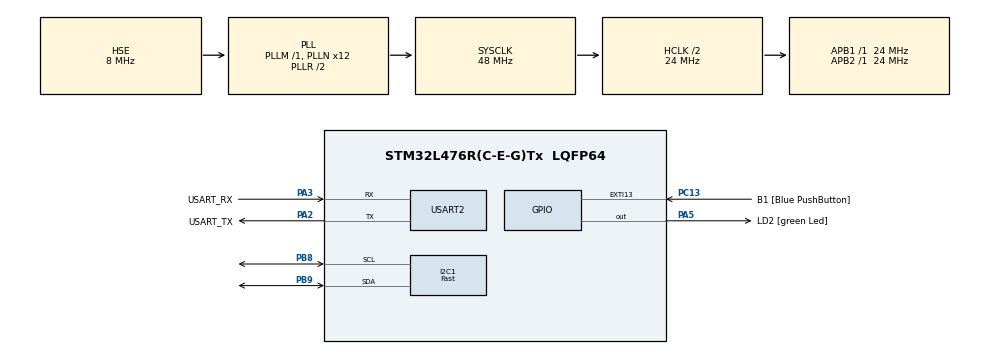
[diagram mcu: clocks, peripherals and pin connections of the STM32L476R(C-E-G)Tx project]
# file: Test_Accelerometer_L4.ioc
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Dma.I2C1_RX.0.Direction=DMA_PERIPH_TO_MEMORY
Dma.I2C1_RX.0.Instance=DMA1_Channel7
Dma.I2C1_RX.0.MemDataAlignment=DMA_MDATAALIGN_BYTE
Dma.I2C1_RX.0.MemInc=DMA_MINC_ENABLE
Dma.I2C1_RX.0.Mode=DMA_NORMAL
Dma.I2C1_RX.0.PeriphDataAlignment=DMA_PDATAALIGN_BYTE
Dma.I2C1_RX.0.PeriphInc=DMA_PINC_DISABLE
Dma.I2C1_RX.0.Priority=DMA_PRIORITY_LOW
Dma.Request0=I2C1_RX
I2C1.I2C_Speed_Mode=I2C_Fast
I2C1.Timing=0x00200C28
Mcu.Family=STM32L4
Mcu.Name=STM32L476R(C-E-G)Tx
Mcu.Package=LQFP64
NVIC.DMA1_Channel7_IRQn=true\:0\:0\:false\:false\:true\:false\:true
NVIC.I2C1_EV_IRQn=true\:0\:0\:false\:false\:true\:true\:true
NVIC.PriorityGroup=NVIC_PRIORITYGROUP_4
PA13\ (JTMS-SWDIO).GPIO_Label=TMS
PA13\ (JTMS-SWDIO).Mode=Serial_Wire
PA13\ (JTMS-SWDIO).Signal=SYS_JTMS-SWDIO
PA14\ (JTCK-SWCLK).GPIO_Label=TCK
PA14\ (JTCK-SWCLK).Mode=Serial_Wire
PA14\ (JTCK-SWCLK).Signal=SYS_JTCK-SWCLK
PA2.GPIO_Label=USART_TX
PA2.GPIO_Mode=GPIO_MODE_AF_PP
PA2.GPIO_PuPd=GPIO_NOPULL
PA2.GPIO_Speed=GPIO_SPEED_FREQ_VERY_HIGH
PA2.Mode=Asynchronous
PA2.Signal=USART2_TX
PA3.GPIO_Label=USART_RX
PA3.GPIO_Mode=GPIO_MODE_AF_PP
PA3.GPIO_PuPd=GPIO_NOPULL
PA3.GPIO_Speed=GPIO_SPEED_FREQ_VERY_HIGH
PA3.Mode=Asynchronous
PA3.Signal=USART2_RX
PA5.GPIO_Label=LD2 [green Led]
PA5.GPIO_ModeDefaultOutputPP=GPIO_MODE_OUTPUT_PP
PA5.GPIO_PuPd=GPIO_NOPULL
PA5.GPIO_Speed=GPIO_SPEED_FREQ_LOW
PA5.Signal=GPIO_Output
PB3\ (JTDO-TRACESWO).GPIO_Label=SWO
PB3\ (JTDO-TRACESWO).Signal=SYS_JTDO-SWO
PB8.Mode=I2C
PB8.Signal=I2C1_SCL
PB9.Mode=I2C
PB9.Signal=I2C1_SDA
PC13.GPIO_Label=B1 [Blue PushButton]
PC13.GPIO_ModeDefaultEXTI=GPIO_MODE_IT_FALLING
PC13.GPIO_PuPd=GPIO_NOPULL
PC13.Signal=GPXTI13
PC14-OSC32_IN\ (PC14).Mode=LSE-External-Oscillator
PC14-OSC32_IN\ (PC14).Signal=RCC_OSC32_IN
PC15-OSC32_OUT\ (PC15).Mode=LSE-External-Oscillator
PC15-OSC32_OUT\ (PC15).Signal=RCC_OSC32_OUT
PH0-OSC_IN\ (PH0).Mode=HSE-External-Oscillator
PH0-OSC_IN\ (PH0).Signal=RCC_OSC_IN
PH1-OSC_OUT\ (PH1).Mode=HSE-External-Oscillator
PH1-OSC_OUT\ (PH1).Signal=RCC_OSC_OUT
ProjectManager.HeapSize=0x200
ProjectManager.StackSize=0x400
ProjectManager.TargetToolchain=TrueSTUDIO
RCC.ADCFreq_Value=32000000
RCC.AHBCLKDivider=RCC_SYSCLK_DIV2
RCC.AHBFreq_Value=24000000
RCC.APB1Freq_Value=24000000
RCC.APB1TimFreq_Value=24000000
RCC.APB2Freq_Value=24000000
RCC.APB2TimFreq_Value=24000000
RCC.CortexFreq_Value=24000000
RCC.HCLKFreq_Value=24000000
RCC.HSE_VALUE=8000000
RCC.HSI_VALUE=16000000
RCC.MSI_VALUE=4000000
RCC.PLLN=12
RCC.PLLSourceVirtual=RCC_PLLSOURCE_HSE
RCC.PREFETCH_ENABLE=1
RCC.SYSCLKFreq_VALUE=48000000
RCC.SYSCLKSource=RCC_SYSCLKSOURCE_PLLCLK
RCC.USBFreq_Value=32000000
RCC.VCOOutputFreq_Value=96000000
USART2.VirtualMode-Asynchronous=VM_ASYNC
board=NUCLEO-L476RG

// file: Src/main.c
/* USER CODE BEGIN Header */
/**
  ******************************************************************************
  * @file           : main.c
  * @brief          : Main program body
  ******************************************************************************
  * @attention
  *
  * <h2><center>&copy; Copyright (c) 2020 STMicroelectronics.
  * All rights reserved.</center></h2>
  *
  * This software component is licensed by ST under BSD 3-Clause license,
  * the "License"; You may not use this file except in compliance with the
  * License. You may obtain a copy of the License at:
  *                        opensource.org/licenses/BSD-3-Clause
  *
  ******************************************************************************
  */
/* USER CODE END Header */

#include "main.h"

/* USER CODE BEGIN Includes */
#include "math.h"
#include "HAL_MPU6050.h"
/* USER CODE END Includes */

I2C_HandleTypeDef hi2c1;
DMA_HandleTypeDef hdma_i2c1_rx;

UART_HandleTypeDef huart2;

/* USER CODE BEGIN PV */
uint8_t I2C_TX_CPLT;
/* USER CODE END PV */

void SystemClock_Config(void);
static void MX_GPIO_Init(void);
static void MX_DMA_Init(void);
static void MX_I2C1_Init(void);
static void MX_USART2_UART_Init(void);
/* USER CODE BEGIN PFP */
mpu_status_t MPU6050_Get_ID(I2C_HandleTypeDef *hi2c,uint8_t* ID);
mpu_status_t MPU6050_Get_MST_Status(I2C_HandleTypeDef *hi2c, uint8_t* status_byte);
mpu_status_t MPU6050_Set_Gyro_FSR(I2C_HandleTypeDef *hi2c,uint8_t FSR);
mpu_status_t MPU6050_Set_Acc_FSR(I2C_HandleTypeDef *hi2c,uint8_t FSR);
/* USER CODE END PFP */

/* USER CODE BEGIN 0 */

//------------------ Register Configuration functions -------------------------//
 mpu_status_t MPU6050_Get_ID(I2C_HandleTypeDef *hi2c,uint8_t* ID)
 {
	  uint8_t whoami = 0;
	  //check if device is I2C ready
	  if(HAL_I2C_IsDeviceReady(hi2c,MPU_Device_Address,10,100)== HAL_OK)
	  {
		  	  //read 1 byte of WHO_AM_I register into variable
			  HAL_StatusTypeDef flag = HAL_I2C_Mem_Read(&hi2c1,MPU_Device_Address,WHO_AM_I,1,&whoami,1,100);
			  //verify read was successful
			  if(flag != HAL_OK)
			  {
				 if(flag == HAL_BUSY)
				 {
					 return MPU_I2C_DEVICE_BUSY;
				 }

				 return MPU_I2C_ERROR;
			  }
			  *ID = whoami;
	  }
	  else
	  {
		  //unable to connect to device
		  return MPU_I2C_DEVICE_OFFLINE;
	  }
	  return MPU_OK;
 }

 mpu_status_t MPU6050_Get_MST_Status(I2C_HandleTypeDef *hi2c, uint8_t* status_byte)
 {
	 if(HAL_I2C_Mem_Read(hi2c,MPU_Device_Address,I2C_MST_STATUS,1,status_byte,1,100) != HAL_OK)
	 {
		 return MPU_I2C_ERROR;
	 }
	 return MPU_OK;
 }

mpu_status_t MPU6050_Get_SelfTestResponse_Values(I2C_HandleTypeDef *hi2c,MPU_SelfTest_t *mpu)
 {
	 uint8_t temp[4]={0};
	 if(HAL_I2C_Mem_Read(hi2c,MPU_Device_Address,SELF_TEST_X,1,temp,4,100)!= HAL_OK)
	 {
		 return MPU_I2C_ERROR;
	 }
	 mpu->A_x = (temp[0]&0b1110000)>>2 | ((temp[3]&0b00110000)>>4);
	 mpu->G_x =  temp[0]&0b0001111;
	 mpu->A_y = (temp[1]&0b1110000)>>2 | ((temp[3]&0b00001100)>>2);
	 mpu->G_y =  temp[1]&0b0001111;
	 mpu->A_z = (temp[2]&0b1110000) |	(temp[3]&0b11);
	 mpu->G_z =  temp[2]&0b0001111;
	 return MPU_OK;
 }

mpu_status_t MPU6050_Set_Cycle_Power_Mode(I2C_HandleTypeDef *hi2c,uint8_t Cycles)
{
	uint8_t pwr1byte = 0;
	pwr1byte |= PWR_MGMT_1_CYCLE_EN;
	//pwr1byte &= ~PWR_MGMT_1_SLEEP_EN;
	uint8_t pwr2byte = Cycles;

	 if(HAL_I2C_Mem_Write(hi2c,MPU_Device_Address,PWR_MGMT_1,1,&pwr1byte,1,100)!= HAL_OK)
	 {
			return MPU_I2C_ERROR;
	 }
	 if(HAL_I2C_Mem_Write(hi2c,MPU_Device_Address,PWR_MGMT_2,1,&pwr2byte,1,100)!= HAL_OK)
	{
			return MPU_I2C_ERROR;
	}
	return MPU_OK;
}

mpu_status_t MPU6050_Set_Low_Power_Mode_Acc(I2C_HandleTypeDef *hi2c,uint8_t Cycles)
{
	uint8_t byte[2] = {0};
	byte[0]  = (PWR_MGMT_1_CYCLE_EN | PWR_MGMT_1_TEMP_DIS);
	byte[1]  = (Cycles | PWR_MGMT_2_STBY_XG|PWR_MGMT_2_STBY_YG|PWR_MGMT_2_STBY_ZG);
	 if(HAL_I2C_Mem_Write(hi2c,MPU_Device_Address,PWR_MGMT_1,1,&byte[0],1,100)!= HAL_OK)
	 {
			return MPU_I2C_ERROR;
	 }
	 if(HAL_I2C_Mem_Write(hi2c,MPU_Device_Address,PWR_MGMT_2,1,&byte[1],1,100)!= HAL_OK)
	{
			return MPU_I2C_ERROR;
	}
	 return MPU_OK;

}

mpu_status_t MPU6050_Set_Wake(I2C_HandleTypeDef *hi2c)
 {
	 uint8_t byte[2] = {0x00,00};

	 if(HAL_I2C_Mem_Write(hi2c,MPU_Device_Address,PWR_MGMT_1,1,&byte[0],1,100)!= HAL_OK)
	{
		return MPU_I2C_ERROR;
	}
	if(HAL_I2C_Mem_Write(hi2c,MPU_Device_Address,PWR_MGMT_1,1,&byte[1],1,100)!= HAL_OK)
	{
	 	return MPU_I2C_ERROR;
	}
	 return MPU_OK;
 }

mpu_status_t MPU6050_Set_Sleep_Power_Mode(I2C_HandleTypeDef *hi2c)
 {
	 uint8_t byte = PWR_MGMT_1_SLEEP_EN;

	 if(HAL_I2C_Mem_Write(hi2c,MPU_Device_Address,PWR_MGMT_1,1,&byte,1,100)!= HAL_OK)
	{
		return MPU_I2C_ERROR;
	}

	 return MPU_OK;
 }

mpu_status_t MPU6050_Set_Gyro_FSR(I2C_HandleTypeDef *hi2c,uint8_t FSR)
{
	uint8_t byte = FSR;
	 if(HAL_I2C_Mem_Write(hi2c,MPU_Device_Address,GYRO_CONFIG,1,&byte,1,100)!= HAL_OK)
	{
		return MPU_I2C_ERROR;
	}
	 return MPU_OK;
}

mpu_status_t MPU6050_Set_Acc_FSR(I2C_HandleTypeDef *hi2c,uint8_t FSR)
{
	uint8_t byte = FSR &0xFF;
	if(HAL_I2C_Mem_Write(hi2c,MPU_Device_Address,ACCELEROMETER_CONFIG,1,&byte,1,100)!= HAL_OK)
	{
		return MPU_I2C_ERROR;
	}
	 return MPU_OK;
}

mpu_status_t MPU6050_Set_Sample_Rate(I2C_HandleTypeDef *hi2c)
{
	//check if DLPF is enabled
	uint8_t configbyte = 0;
	uint8_t smplrtdiv= 0;
	if(HAL_I2C_Mem_Read(hi2c,MPU_Device_Address,CONFIG,1,&configbyte,1,100) != HAL_OK)
	{
		return MPU_I2C_ERROR;
	}
	//digital low pass value is last 3 bits of CONFIG register
	if((configbyte &0b111) > 0)
	{
		smplrtdiv= (uint8_t)(GYRO_OUTPUT_RATE_DLPF_EN/SAMPLE_RATE - 1);
	}else
	{
		smplrtdiv = (uint8_t)(GYRO_OUTPUT_RATE_DLPF_DIS/SAMPLE_RATE -1);
	}

	if(HAL_I2C_Mem_Write(hi2c,MPU_Device_Address,SMPLRT_DIV,1,&smplrtdiv,1,100) != HAL_OK)
	{
		return MPU_I2C_ERROR;
	}
	return HAL_OK;
}

mpu_status_t MPU6050_Set_FSync(I2C_HandleTypeDef *hi2c, uint8_t Fsync)
{
	//get CONFIG Register
	uint8_t configbyte = 0;
	if(HAL_I2C_Mem_Read(hi2c,MPU_Device_Address,CONFIG,1,&configbyte,1,100) != HAL_OK)
	{
		return MPU_I2C_ERROR;
	}

	configbyte|= (Fsync&0b111000);
	if(HAL_I2C_Mem_Write(hi2c,MPU_Device_Address,CONFIG,1,&configbyte,1,100) != HAL_OK)
	{
		return MPU_I2C_ERROR;
	}
	return MPU_OK;
}

mpu_status_t MPU6050_Set_DLPF(I2C_HandleTypeDef *hi2c, uint8_t DLPF)
{
	//mask unwanted bits
	uint8_t configbyte = 0;
	if(HAL_I2C_Mem_Read(hi2c,MPU_Device_Address,CONFIG,1,&configbyte,1,100) != HAL_OK)
	{
		return MPU_I2C_ERROR;
	}
	configbyte |= (DLPF &0b111);
	if(HAL_I2C_Mem_Write(hi2c,MPU_Device_Address,CONFIG,1,&configbyte,1,100) != HAL_OK)
	{
		return MPU_I2C_ERROR;
	}
	return MPU_OK;
}

mpu_status_t MPU6050_Enable_Interrupt(I2C_HandleTypeDef *hi2c, uint8_t interrupts)
{
	uint8_t iconfigbyte = 0;
	if(HAL_I2C_Mem_Read(hi2c,MPU_Device_Address,INT_ENABLE,1,&iconfigbyte,1,100) != HAL_OK)
	{
		return MPU_I2C_ERROR;
	}
	//set enable bit
	iconfigbyte |= interrupts;
	//write to register
	if(HAL_I2C_Mem_Write(hi2c,MPU_Device_Address,INT_ENABLE,1,&iconfigbyte,1,100) != HAL_OK)
	{
		return MPU_I2C_ERROR;
	}
	return MPU_OK;
}

mpu_status_t MPU6050_Disable_Interrupt(I2C_HandleTypeDef *hi2c, uint8_t interrupts)
{
	uint8_t iconfigbyte = 0;
	if(HAL_I2C_Mem_Read(hi2c,MPU_Device_Address,INT_ENABLE,1,&iconfigbyte,1,100) != HAL_OK)
	{
		return MPU_I2C_ERROR;
	}
	//set enable bit
	iconfigbyte &= ~interrupts;
	//write to register
	if(HAL_I2C_Mem_Write(hi2c,MPU_Device_Address,INT_ENABLE,1,&iconfigbyte,1,100) != HAL_OK)
	{
		return MPU_I2C_ERROR;
	}
	return MPU_OK;
}
mpu_status_t MPU6050_Get_Interrupt_Status(I2C_HandleTypeDef *hi2c, Interrupt_source_t interrupt_src,uint8_t* res)
{
	uint8_t istatus = 0;
	if(HAL_I2C_Mem_Read(hi2c,MPU_Device_Address,INT_STATUS,1,&istatus,1,100) != HAL_OK)
	{
		return MPU_I2C_ERROR;
	}

	switch (interrupt_src)
	{
		case FIFO_OVERFLOW:
			*res = (istatus&INT_STATUS_FIFO_OVERFLOW)>>4;
			break;
		case I2C_MST_INT:
			*res = (istatus&INT_STATUS_I2C_MST)>>3;
		case DATA_READY:
			*res = (istatus&INT_STATUS_DATA_RDY);
		default:
			break;

	}

	return HAL_OK;
}

mpu_status_t MPU6050_Get_IMU_Data(I2C_HandleTypeDef *hi2c,uint8_t* imu)
{
	  __HAL_DMA_ENABLE_IT(&hdma_i2c1_rx, DMA_IT_TC);
	if( HAL_I2C_Mem_Read_DMA(&hi2c1,MPU_Device_Address,ACCEL_XOUT_H,1,imu,14) != HAL_OK)
	{
		return MPU_I2C_ERROR;
	}
	while(!I2C_TX_CPLT);
	I2C_TX_CPLT = 0;
	return MPU_OK;
}
/*
 * @brief: Enables the IMU FIFO buffer and configures it to recieve
 * 		   Data from peripherals determined by the fifo_Mask
 * @param: hi2c - pointer to I2C handle typedef
 * 		   enable - can either be (ENABLE - enables FIFO Buffer), DISABLE - disables BUFFER, RESET (3)- resets buffer
 */
mpu_status_t MPU6050_FIFO_Init(I2C_HandleTypeDef *hi2c, uint8_t enable)
{
	//get USER_CTRL register Data
	uint8_t uc_byte;
	if(HAL_I2C_Mem_Read(hi2c,MPU_Device_Address,USER_CTRL,1,&uc_byte,1,100) != HAL_OK)
	{
		return MPU_I2C_ERROR;
	}
	//set relevent bits
	if(enable == ENABLE)
	{
		uc_byte |= USER_CTRL_FIFO_EN;
	}else if(enable == DISABLE)
	{
		uc_byte &= ~USER_CTRL_FIFO_EN;
	}else if(enable == MPU_RESET)
	{
		uc_byte &= ~USER_CTRL_FIFO_EN;
		uc_byte |= USER_CTRL_FIFO_RESET;
	}
	//write values to data register
	if(HAL_I2C_Mem_Write(hi2c,MPU_Device_Address,USER_CTRL,1,&uc_byte,1,100) != HAL_OK)
	{
		return MPU_I2C_ERROR;
	}
	if(enable == MPU_RESET)
	{
		//poll User control FIFO reset bit untill it resets
		while((uc_byte& USER_CTRL_FIFO_RESET) != 0 )
		{
			if(HAL_I2C_Mem_Read(hi2c,MPU_Device_Address,USER_CTRL,1,&uc_byte,1,100) != HAL_OK)
			{
				return MPU_RESET_FAIL;
			}
		}
	}
	return MPU_OK;

}

mpu_status_t MPU6050_Signal_conditioned_Reset(I2C_HandleTypeDef *hi2c)
{
	//write reset condition to USER_CTRL
	uint8_t byte = USER_CTRL_SIG_COND_RESET;
	if(HAL_I2C_Mem_Write(hi2c,MPU_Device_Address,USER_CTRL,1,&byte,1,100) != HAL_OK)
	{
		return MPU_I2C_ERROR;
	}
	(void)byte;
	//wait for sig cond bit to reset
	uint8_t sig_reset_complete = 1;
	while(sig_reset_complete)
	{
		if(HAL_I2C_Mem_Read(hi2c,MPU_Device_Address,USER_CTRL,1,&sig_reset_complete,1,100) != HAL_OK)
		{
			return MPU_I2C_ERROR;
		}
		sig_reset_complete &= 0b1;
	}
	return MPU_OK;
}

mpu_status_t  MPU6050_FIFO_Config(I2C_HandleTypeDef *hi2c, uint8_t fifo_mask, uint8_t cmd )
{
	uint8_t fifobyte;
	if(HAL_I2C_Mem_Read(hi2c,MPU_Device_Address,FIFO_EN,1,&fifobyte,1,100) != HAL_OK)
	{
		return MPU_I2C_ERROR;
	}
	if(cmd == ENABLE)
	{
		fifobyte |= fifo_mask;
	}
	else if(cmd == DISABLE)
	{
		fifobyte &= ~fifo_mask;
	}
	if(HAL_I2C_Mem_Write(hi2c,MPU_Device_Address,FIFO_EN,1,&fifobyte,1,100) != HAL_OK)
	{
		return MPU_I2C_ERROR;
	}
	return MPU_OK;
}

mpu_status_t MPU6050_Get_FIFO_Count(I2C_HandleTypeDef *hi2c,uint16_t* count)
{
	uint8_t fifo_reg[2] = {0};
	if(HAL_I2C_Mem_Read(hi2c,MPU_Device_Address,FIFO_COUNTH,1,fifo_reg,2,100) != HAL_OK)
	{
		return MPU_I2C_ERROR;
	}

	*count = ((fifo_reg[0]&0xFF)<<8) | (fifo_reg[1] &0xFF);
	return MPU_OK;

}

mpu_status_t MPU6050_FIFO_CMD(I2C_HandleTypeDef *hi2c,uint8_t cmd)
{
	uint8_t fifobyte;
		if(HAL_I2C_Mem_Read(hi2c,MPU_Device_Address,USER_CTRL,1,&fifobyte,1,100) != HAL_OK)
		{
			return MPU_I2C_ERROR;
		}

		if(cmd == ENABLE)
		{
			fifobyte |= USER_CTRL_FIFO_EN;
		}else if(cmd == DISABLE)
		{
			fifobyte &= ~(USER_CTRL_FIFO_EN);
		}else
		{
			//invalid cmd sent
			return MPU_INIT_CMD_ERROR;
		}
		//write byte to user control
		if(HAL_I2C_Mem_Write(hi2c,MPU_Device_Address,USER_CTRL,1,&fifobyte,1,100) != HAL_OK)
		{
			return MPU_I2C_ERROR;
		}
		return MPU_OK;
}
/*
 * @brief: Function to enable/disable the temperature sensor
 *
 * @param: hi2c - pointer to I2C handle
 * 		   cmd 	- set to ENABLE to enable the reading, DISABLE to disable
 */
mpu_status_t MPU6050_init_TempSensor(I2C_HandleTypeDef *hi2c, uint8_t cmd)
{
	//get register data
	uint8_t pwrmgmtbyte = 0;
	if(HAL_I2C_Mem_Read(hi2c,MPU_Device_Address,PWR_MGMT_1,1,&pwrmgmtbyte,1,100) != HAL_OK)
	{
		return MPU_I2C_ERROR;
	}

	if(cmd == ENABLE)
	{
		pwrmgmtbyte &= ~(PWR_MGMT_1_TEMP_DIS);
	}else if(cmd == DISABLE)
	{
		pwrmgmtbyte |= PWR_MGMT_1_TEMP_DIS;
	}else
	{
		return MPU_INIT_CMD_ERROR;
	}
	if(HAL_I2C_Mem_Write(hi2c,MPU_Device_Address,PWR_MGMT_1,1,&pwrmgmtbyte,1,100) != HAL_OK)
	{
		return MPU_I2C_ERROR;
	}
	return MPU_OK;
}

mpu_status_t MPU6050_Set_PLLSrc(I2C_HandleTypeDef *hi2c, uint8_t PLL)
{
	//get PWR_MGMT_1 reg data
	uint8_t pwrmgmtbyte = 0;
	if(HAL_I2C_Mem_Read(hi2c,MPU_Device_Address,PWR_MGMT_1,1,&pwrmgmtbyte,1,100) != HAL_OK)
	{
		return MPU_I2C_ERROR;
	}
	//configure PLL source
	if(PLL == 0)
	{
		//clear bits to configure for internal 8MHz
		pwrmgmtbyte &= ~PWR_MGMT_1_CLK_SEL_7;
	}else
	{
		pwrmgmtbyte |=PLL;
	}
	//write byte to register
	if(HAL_I2C_Mem_Write(hi2c,MPU_Device_Address,PWR_MGMT_1,1,&pwrmgmtbyte,1,100) != HAL_OK)
	{
		return MPU_I2C_ERROR;
	}
	return MPU_OK;
}

mpu_status_t MPU6050_reset(I2C_HandleTypeDef *hi2c)
{
	//set bit in register
	uint8_t pwrmgmtbyte = (uint8_t)PWR_MGMT_1_DEVICE_RESET;
	if(HAL_I2C_Mem_Write(hi2c,MPU_Device_Address,PWR_MGMT_1,1,&pwrmgmtbyte,1,100) != HAL_OK)
	{
		return MPU_I2C_ERROR;
	}
	//wait for bit to clear
	uint8_t retries = 0;
	while((pwrmgmtbyte &PWR_MGMT_1_DEVICE_RESET)!=0)
	{
		//poll data register untill bit is cleared
		if(HAL_I2C_Mem_Read(&hi2c1,MPU_Device_Address,PWR_MGMT_1,1,&pwrmgmtbyte,1,100)!= HAL_OK)
		{
			//failiure to read register
				retries++;
		}
		if(retries >= 100)
		{
			return MPU_RESET_FAIL;
		}
	}

	return HAL_OK;
}
//----------------------- Data Processing Functions----------------------------//

/*
 * @brief:
 *
 * This function is used to perform a self test on the device. This function
 * should be run during a power on/ first time start.
 *
 * @description:
 * Self Test is applied to all 6 axes of imu. Individual axis can be enabled for self test
 * by setting the nA_ST bit in the Acceleration Config Register (n is the x,y,z axis)
 *
 * Once, activated, the sensors are electronically actuated over a set distance simulating an
 * external force. Once complete, a corresponding output signal is produced which is then
 * subtracted from the values in the self test register resulting in a self test response.
 *
 *@set up:
 *@set GYRO FSR to 250 dps
 *@set ACCEL range to 8+-g
 *@set PLL clock source to x-axis gyro ref
 *
 *@param: hi2c - i2c handler
 *@param: test_res - an array to hold the results of the self test for each axis. Note: must be an array with a length >= 6
 *
 *@return mpu_status_t - value to show the status of the function
 *
 */
mpu_status_t MPU6050_SelfTest(I2C_HandleTypeDef *hi2c,float* test_res)
{
	// set clock source to PLL gyro x axis
	MPU6050_Set_PLLSrc(&hi2c1, PWR_MGMT_1_CLK_SEL_1);
	//set Gyro FSR to 250 dps
	MPU6050_Set_Gyro_FSR(&hi2c1,GYRO_CONFIG_FSSEL_250DPS);
	//set Acc FSR to +-8g
	MPU6050_Set_Acc_FSR(&hi2c1,ACC_CONFIG_AFSSEL_8G);
	//enable selftest
	uint8_t stbyte[2];
	 if(HAL_I2C_Mem_Read(hi2c,MPU_Device_Address,GYRO_CONFIG,1,stbyte,2,100)!= HAL_OK)
	{
		return MPU_I2C_ERROR;
	}
	stbyte[0] |= GYRO_CONFIG_ST_EN_X | GYRO_CONFIG_ST_EN_Y | GYRO_CONFIG_ST_EN_Z;
	stbyte[1] |= ACC_CONFIG_ST_EN_X | ACC_CONFIG_ST_EN_Y | ACC_CONFIG_ST_EN_Z;
	 if(HAL_I2C_Mem_Write(hi2c,MPU_Device_Address,GYRO_CONFIG,1,stbyte,2,100)!= HAL_OK)
	{
		return MPU_I2C_ERROR;
	}
	 HAL_I2C_Mem_Read(hi2c,MPU_Device_Address,GYRO_CONFIG,1,stbyte,2,100);
	HAL_Delay(250); //TODO: Replace with a wait till self test updated function. Value taken from https://github.com/kriswiner/MPU6050/blob/master/MPU6050BasicExample.ino line 662

	//read Self Test register
	MPU_SelfTest_t mpu_str;
	MPU_FT_t mpu_ft;
	if(MPU6050_Get_SelfTestResponse_Values(&hi2c1,&mpu_str) != MPU_OK)
	{
		return MPU_STR_READ_ERROR;
	}
	//calculate Factory Trim for gyro
	mpu_ft.G_x = 25*131*pow(1.046,(float)mpu_str.G_x -1);
	mpu_ft.G_y =-25*131*pow(1.046,(float)mpu_str.G_y -1);
	mpu_ft.G_z = 25*131*pow(1.046,(float)mpu_str.G_z -1);

	//calculate Factory Trim for Acc
	mpu_ft.A_x = 4096*0.34*pow(0.92/0.34,(((float)mpu_str.A_x-1)/30.0));
	mpu_ft.A_y = 4096*0.34*pow(0.92/0.34,(((float)mpu_str.A_y-1)/30.0));
	mpu_ft.A_z = 4096*0.34*pow(0.92/0.34,(((float)mpu_str.A_z-1)/30.0));

	//calculate factory trim chage
	test_res[0] = 100+ 100*((float)mpu_str.A_x - mpu_ft.A_x)/mpu_ft.A_x;
	test_res[1] = 100+ 100*((float)mpu_str.A_y - mpu_ft.A_y)/mpu_ft.A_y;
	test_res[2] = 100+ 100*((float)mpu_str.A_z - mpu_ft.A_z)/mpu_ft.A_z;
	test_res[3] = 100+ 100*((float)mpu_str.G_x - mpu_ft.G_x)/mpu_ft.G_x;
	test_res[4] = 100+ 100*((float)mpu_str.G_y - mpu_ft.G_y)/mpu_ft.G_y;
	test_res[5] = 100+ 100*((float)mpu_str.G_z - mpu_ft.G_z)/mpu_ft.G_z;
	return MPU_OK;

}

mpu_status_t MPU6050_Calibrate_Acc(I2C_HandleTypeDef *hi2c,float* accel_bias)
{
	//Initialise registers
	 MPU6050_reset(&hi2c1);
	 MPU6050_Set_Wake(&hi2c1); //wake up device
	MPU6050_Set_PLLSrc(&hi2c1, PWR_MGMT_1_CLK_SEL_1); // set clock source to PLL gyro x axis
	HAL_Delay(400);
	MPU6050_Disable_Interrupt(&hi2c1,(INT_ENABLE_DATA_RDY_EN|INT_ENABLE_FIFO_OFLOW_EN | INT_ENABLE_I2C_MST_INT_EN)); //Disable all interrupts
	MPU6050_FIFO_Config(&hi2c1,0xFF,DISABLE); 	//reset FIFO
	MPU6050_FIFO_Init(&hi2c1,DISABLE);
	MPU6050_FIFO_Init(&hi2c1,MPU_RESET);

	//configure Gyro and Accelerometer
	MPU6050_Set_Gyro_FSR(&hi2c1,GYRO_CONFIG_FSSEL_500DPS); //set Gyro FSR to 500 dps
	MPU6050_Set_Acc_FSR(&hi2c1,ACC_CONFIG_AFSSEL_8G);		//set Acc FSR to +-8g
	int32_t acc_res =ACC_8G_WORD_LENGTH;
	MPU6050_Set_DLPF(&hi2c1,CONFIG_DLFP_1);					//set dlpf to 188 Hz
	MPU6050_Set_Sample_Rate(&hi2c1);						// set sample rate to user defined value in HAL_MPU6050.h
	MPU6050_FIFO_Init(&hi2c1,ENABLE);						//enable FIFO
	//enable acc and gyro in FIFO buffer
	MPU6050_Enable_Interrupt(&hi2c1, INT_ENABLE_FIFO_OFLOW_EN);
	MPU6050_FIFO_Config(&hi2c1,FIFO_EN_ACC,ENABLE);
	//wait until fifo is completed
	uint8_t interrupt_status = 0;
	while(!interrupt_status)
	{
		 MPU6050_Get_Interrupt_Status(&hi2c1,FIFO_OVERFLOW,&interrupt_status);
	}
	MPU6050_FIFO_Config(&hi2c1,FIFO_EN_ACC,DISABLE);
	uint16_t count = 0;
	MPU6050_Get_FIFO_Count(&hi2c1,&count);
	uint8_t buffer[1024];
	uint8_t addr = FIFO_R_W;

	if(HAL_I2C_Master_Transmit(&hi2c1,MPU_Device_Address,&addr,1,100)== HAL_OK)
	{
		if(HAL_I2C_Master_Seq_Receive_DMA(&hi2c1,MPU_Device_Address,buffer,count,I2C_FIRST_FRAME) != HAL_OK)
		{
			return MPU_FIFO_READ_ERROR;
		}
		//wait for read to finish
		while(I2C_TX_CPLT != 1);

	}
	//Processing algorythm:
	int32_t n_s = count/6; //3 axes, 2 bytes per axis
	int32_t imu_bias[3] = {0};	//data array for storing the
	int16_t acc_temp[3] ={0}, gyro_temp[3] = {0};
	for (int i = 0; i < n_s; ++i)
	{
		//get set of imu data
		acc_temp[0]= ((int16_t)buffer[6*i])<<8 | ((int16_t)buffer[6*i+1]&0xFF);
		acc_temp[1]= ((int16_t)buffer[6*i+2])<<8 | ((int16_t)buffer[6*i+3]&0xFF);
		acc_temp[2]= ((int16_t)buffer[6*4])<<8 | ((int16_t)buffer[6*i+5]&0xFF);
		int j = 0;
		for (j = 0; j < 3; ++j)
		{
			imu_bias[j] += (int32_t)acc_temp[j];
		}
	}
	//divide total by number of samples to get offset
	imu_bias[0] /= n_s;
	imu_bias[1] /=n_s;
	imu_bias[2] = (imu_bias[2] - acc_res)/n_s;
	accel_bias[0] = (float)imu_bias[0]/(float)acc_res;
	accel_bias[1] = (float)imu_bias[1]/(float)acc_res;
	accel_bias[2] = (float)imu_bias[2]/(float)acc_res;
	return MPU_CAL_SUCCESS;
}

//----------------------------- TEST MODULES ----------------------------------//
void Test_PowerMode(void)
{
	  MPU6050_Set_Cycle_Power_Mode(&hi2c1,PWR_MGMT_2_LP_WAKE_CTRL_40HZ);
	  uint8_t byte[2];
	  HAL_I2C_Mem_Read(&hi2c1,MPU_Device_Address,PWR_MGMT_1,1,byte,2,100);
	  MPU6050_Set_Low_Power_Mode_Acc(&hi2c1,PWR_MGMT_2_LP_WAKE_CTRL_1_25HZ);
	  HAL_I2C_Mem_Read(&hi2c1,MPU_Device_Address,PWR_MGMT_1,1,byte,2,100);
	  MPU6050_Set_Sleep_Power_Mode(&hi2c1);
	  HAL_I2C_Mem_Read(&hi2c1,MPU_Device_Address,PWR_MGMT_1,1,byte,2,100);
	  MPU6050_Set_Wake(&hi2c1);
	  HAL_I2C_Mem_Read(&hi2c1,MPU_Device_Address,PWR_MGMT_1,1,byte,2,100);
}

void MPU6050_DMA_PeriphIRQHandler(void)
{
	I2C_TX_CPLT = 1;
}
/* USER CODE END 0 */

int main(void)
{

  /* MCU Configuration--------------------------------------------------------*/

  /* Reset of all peripherals, Initializes the Flash interface and the Systick. */
  HAL_Init();

  /* Configure the system clock */
  SystemClock_Config();

  /* Initialize all configured peripherals */
  MX_GPIO_Init();
  MX_DMA_Init();
  MX_I2C1_Init();
  MX_USART2_UART_Init();
  /* USER CODE BEGIN 2 */
  uint8_t whoami = 0;
  uint8_t status = 0;
  MPU6050_Get_ID(&hi2c1,&whoami);
  if(whoami == WHO_AM_I_VALUE)
  {
	  float acc_bias[3] = {0};
	  MPU6050_Calibrate_Acc(&hi2c1,acc_bias);
	  __NOP();
  }

  /* USER CODE END 2 */

  /* Infinite loop */
  /* USER CODE BEGIN WHILE */
  while (1)
  {
	  //Fifo function

	  uint16_t count =0;
	  MPU6050_Get_FIFO_Count(&hi2c1,&count);
	  if(count > 0 )
	  {
		  //create a buffer with count number of variables
		  uint8_t data[count];
		  for (int i = 0; i < count; ++i)
		  {
			HAL_I2C_Mem_Read(&hi2c1,MPU_Device_Address,FIFO_R_W,1,&data[i],1,100);
		  }
		  __NOP();
	  }

	  	  //wait untill data ready becomes set
//		  while(!interrupt_status)
//		  {
//			  MPU6050_Get_Interrupt_Status(&hi2c1,DATA_READY,&interrupt_status);
//		  }
//		  interrupt_status = 0;
//		 MPU6050_Get_IMU_Data(&hi2c1,res);
//		 HAL_GPIO_TogglePin(LD2_GPIO_Port,LD2_Pin);
    /* USER CODE END WHILE */

  }
}

void SystemClock_Config(void)
{
  RCC_OscInitTypeDef RCC_OscInitStruct = {0};
  RCC_ClkInitTypeDef RCC_ClkInitStruct = {0};
  RCC_PeriphCLKInitTypeDef PeriphClkInit = {0};

  /** Initializes the CPU, AHB and APB busses clocks
  */
  RCC_OscInitStruct.OscillatorType = RCC_OSCILLATORTYPE_HSE;
  RCC_OscInitStruct.HSEState = RCC_HSE_ON;
  RCC_OscInitStruct.PLL.PLLState = RCC_PLL_ON;
  RCC_OscInitStruct.PLL.PLLSource = RCC_PLLSOURCE_HSE;
  RCC_OscInitStruct.PLL.PLLM = 1;
  RCC_OscInitStruct.PLL.PLLN = 12;
  RCC_OscInitStruct.PLL.PLLP = RCC_PLLP_DIV7;
  RCC_OscInitStruct.PLL.PLLQ = RCC_PLLQ_DIV2;
  RCC_OscInitStruct.PLL.PLLR = RCC_PLLR_DIV2;
  if (HAL_RCC_OscConfig(&RCC_OscInitStruct) != HAL_OK)
  {
    Error_Handler();
  }
  /** Initializes the CPU, AHB and APB busses clocks
  */
  RCC_ClkInitStruct.ClockType = RCC_CLOCKTYPE_HCLK|RCC_CLOCKTYPE_SYSCLK
                              |RCC_CLOCKTYPE_PCLK1|RCC_CLOCKTYPE_PCLK2;
  RCC_ClkInitStruct.SYSCLKSource = RCC_SYSCLKSOURCE_PLLCLK;
  RCC_ClkInitStruct.AHBCLKDivider = RCC_SYSCLK_DIV2;
  RCC_ClkInitStruct.APB1CLKDivider = RCC_HCLK_DIV1;
  RCC_ClkInitStruct.APB2CLKDivider = RCC_HCLK_DIV1;

  if (HAL_RCC_ClockConfig(&RCC_ClkInitStruct, FLASH_LATENCY_1) != HAL_OK)
  {
    Error_Handler();
  }
  PeriphClkInit.PeriphClockSelection = RCC_PERIPHCLK_USART2|RCC_PERIPHCLK_I2C1;
  PeriphClkInit.Usart2ClockSelection = RCC_USART2CLKSOURCE_PCLK1;
  PeriphClkInit.I2c1ClockSelection = RCC_I2C1CLKSOURCE_PCLK1;
  if (HAL_RCCEx_PeriphCLKConfig(&PeriphClkInit) != HAL_OK)
  {
    Error_Handler();
  }
  /** Configure the main internal regulator output voltage
  */
  if (HAL_PWREx_ControlVoltageScaling(PWR_REGULATOR_VOLTAGE_SCALE1) != HAL_OK)
  {
    Error_Handler();
  }
}

static void MX_I2C1_Init(void)
{

  hi2c1.Instance = I2C1;
  hi2c1.Init.Timing = 0x00200C28;
  hi2c1.Init.OwnAddress1 = 0;
  hi2c1.Init.AddressingMode = I2C_ADDRESSINGMODE_7BIT;
  hi2c1.Init.DualAddressMode = I2C_DUALADDRESS_DISABLE;
  hi2c1.Init.OwnAddress2 = 0;
  hi2c1.Init.OwnAddress2Masks = I2C_OA2_NOMASK;
  hi2c1.Init.GeneralCallMode = I2C_GENERALCALL_DISABLE;
  hi2c1.Init.NoStretchMode = I2C_NOSTRETCH_DISABLE;
  if (HAL_I2C_Init(&hi2c1) != HAL_OK)
  {
    Error_Handler();
  }
  /** Configure Analogue filter
  */
  if (HAL_I2CEx_ConfigAnalogFilter(&hi2c1, I2C_ANALOGFILTER_ENABLE) != HAL_OK)
  {
    Error_Handler();
  }
  /** Configure Digital filter
  */
  if (HAL_I2CEx_ConfigDigitalFilter(&hi2c1, 0) != HAL_OK)
  {
    Error_Handler();
  }

}

static void MX_USART2_UART_Init(void)
{

  huart2.Instance = USART2;
  huart2.Init.BaudRate = 115200;
  huart2.Init.WordLength = UART_WORDLENGTH_8B;
  huart2.Init.StopBits = UART_STOPBITS_1;
  huart2.Init.Parity = UART_PARITY_NONE;
  huart2.Init.Mode = UART_MODE_TX_RX;
  huart2.Init.HwFlowCtl = UART_HWCONTROL_NONE;
  huart2.Init.OverSampling = UART_OVERSAMPLING_16;
  huart2.Init.OneBitSampling = UART_ONE_BIT_SAMPLE_DISABLE;
  huart2.AdvancedInit.AdvFeatureInit = UART_ADVFEATURE_NO_INIT;
  if (HAL_UART_Init(&huart2) != HAL_OK)
  {
    Error_Handler();
  }

}

static void MX_DMA_Init(void)
{

  /* DMA controller clock enable */
  __HAL_RCC_DMA1_CLK_ENABLE();

  /* DMA interrupt init */
  /* DMA1_Channel7_IRQn interrupt configuration */
  HAL_NVIC_SetPriority(DMA1_Channel7_IRQn, 0, 0);
  HAL_NVIC_EnableIRQ(DMA1_Channel7_IRQn);

}

static void MX_GPIO_Init(void)
{
  GPIO_InitTypeDef GPIO_InitStruct = {0};

  /* GPIO Ports Clock Enable */
  __HAL_RCC_GPIOC_CLK_ENABLE();
  __HAL_RCC_GPIOH_CLK_ENABLE();
  __HAL_RCC_GPIOA_CLK_ENABLE();
  __HAL_RCC_GPIOB_CLK_ENABLE();

  /*Configure GPIO pin Output Level */
  HAL_GPIO_WritePin(LD2_GPIO_Port, LD2_Pin, GPIO_PIN_RESET);

  /*Configure GPIO pin : B1_Pin */
  GPIO_InitStruct.Pin = B1_Pin;
  GPIO_InitStruct.Mode = GPIO_MODE_IT_FALLING;
  GPIO_InitStruct.Pull = GPIO_NOPULL;
  HAL_GPIO_Init(B1_GPIO_Port, &GPIO_InitStruct);

  /*Configure GPIO pin : LD2_Pin */
  GPIO_InitStruct.Pin = LD2_Pin;
  GPIO_InitStruct.Mode = GPIO_MODE_OUTPUT_PP;
  GPIO_InitStruct.Pull = GPIO_NOPULL;
  GPIO_InitStruct.Speed = GPIO_SPEED_FREQ_LOW;
  HAL_GPIO_Init(LD2_GPIO_Port, &GPIO_InitStruct);

}

void Error_Handler(void)
{
}

/************************ (C) COPYRIGHT STMicroelectronics *****END OF FILE****/
